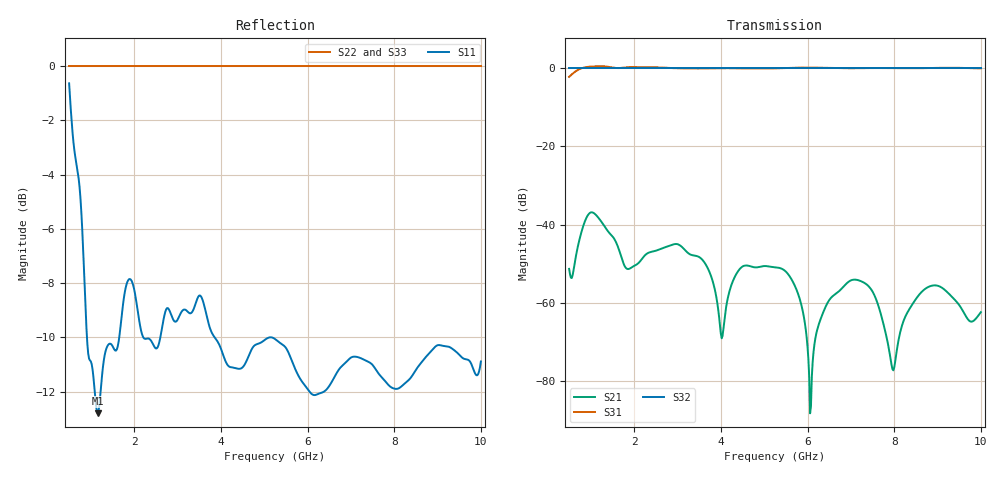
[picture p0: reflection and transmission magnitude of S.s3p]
! Created with skrf (http://scikit-rf.org).
# GHz S RI R 50.0
!freq ReS11 ImS11 ReS12 ImS12 ReS13 ImS13
! ReS21 ImS21 ReS22 ImS22 ReS23 ImS23
! ReS31 ImS31 ReS32 ImS32 ReS33 ImS33
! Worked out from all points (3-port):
!   476 points, 500 MHz to 10 GHz, reference 50 ohm
!   strongest paths, dB at 500 MHz, 2.88 GHz, 5.26 GHz, 7.64 GHz, 10 GHz:
!     S32: 0.0, 0.0, 0.0, 0.0, 0.0
!     S31: -2.2, 0.0, -0.1, 0.0, -0.1
!     S21: -51.3, -45.1, -50.9, -60.9, -62.3
!   lowest |S11| = -12.8 dB at 1.16 GHz (marker M1), VSWR 1.59, Z = 31.5 - j2.92 ohm
!   |S11| at or under -10 dB: 911.9 MHz to 1.656 GHz (744.4 MHz wide, 58 % of centre); 3.857 GHz to 5.139 GHz (1.282 GHz wide, 28.5 % of centre); 5.147 GHz to end of sweep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
0.5  0.1974 0.9086  0.00224 -0.00156  -0.7701 -0.0721
     0.00224 -0.00156  1 0  1 0
     -0.7701 -0.0721  1 0  1 0
1.16  -0.2248 -0.0439  -0.00921 0.00854  -0.7261 0.7661
      -0.00921 0.00854  1 0  1 0
      -0.7261 0.7661  1 0  1 0
4.02  0.237 0.182  -7.08e-05 -0.000347  0.9958 0.0128
      -7.08e-05 -0.000347  1 0  1 0
      0.9958 0.0128  1 0  1 0
5.26  -0.2906 0.1178  0.00225 -0.00175  0.5061 -0.8555
      0.00225 -0.00175  1 0  1 0
      0.5061 -0.8555  1 0  1 0
6.08  0.2493 -0.00381  -3.25e-05 -3.57e-05  -0.2077 -0.9928
      -3.25e-05 -3.57e-05  1 0  1 0
      -0.2077 -0.9928  1 0  1 0
6.56  -0.0591 -0.255  5.85e-05 -0.00119  -0.6 -0.8022
      5.85e-05 -0.00119  1 0  1 0
      -0.6 -0.8022  1 0  1 0
7.62  0.1583 0.2218  0.000975 -5.12e-05  -1.002 0.0204
      0.000975 -5.12e-05  1 0  1 0
      -1.002 0.0204  1 0  1 0
7.98  0.2351 -0.0977  -6.27e-05 0.000123  -0.9372 0.3473
      -6.27e-05 0.000123  1 0  1 0
      -0.9372 0.3473  1 0  1 0
8.74  -0.2905 0.0241  -0.000505 -0.00146  -0.4965 0.867
      -0.000505 -0.00146  1 0  1 0
      -0.4965 0.867  1 0  1 0
10  -0.0225 -0.2845  0.000752 0.000133  0.6336 0.7652
    0.000752 0.000133  1 0  1 0
    0.6336 0.7652  1 0  1 0
